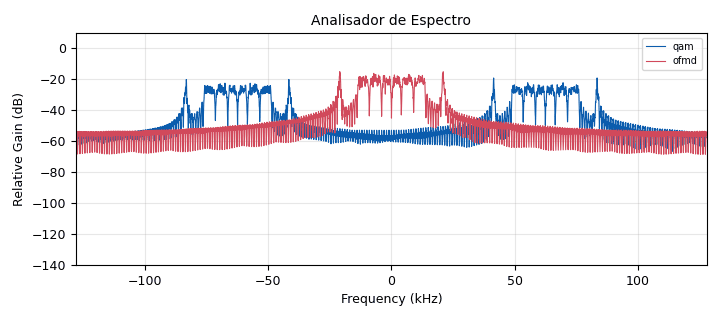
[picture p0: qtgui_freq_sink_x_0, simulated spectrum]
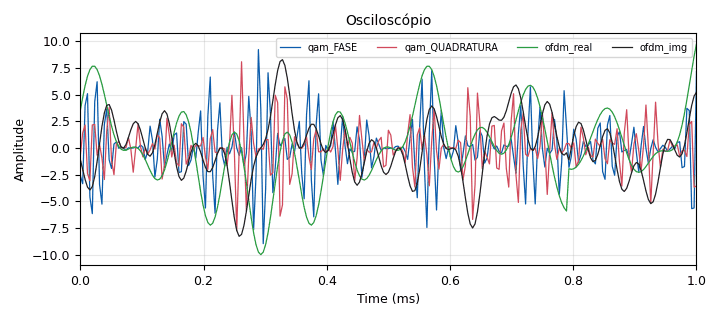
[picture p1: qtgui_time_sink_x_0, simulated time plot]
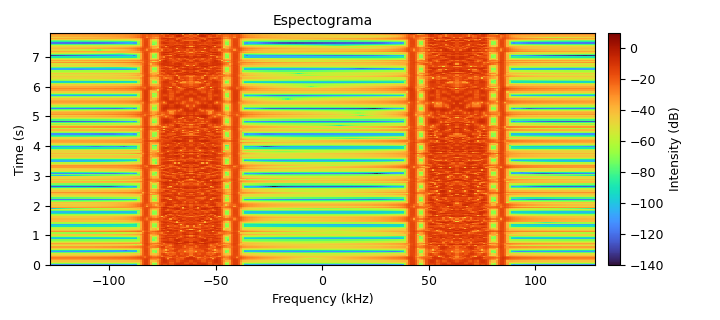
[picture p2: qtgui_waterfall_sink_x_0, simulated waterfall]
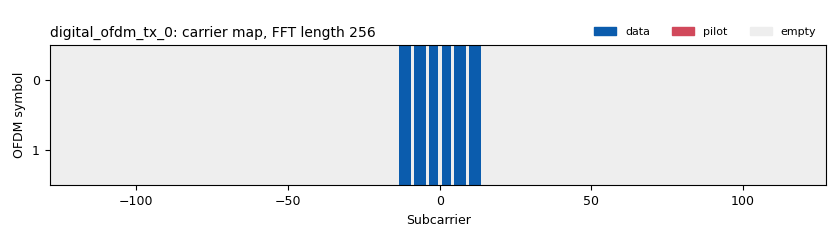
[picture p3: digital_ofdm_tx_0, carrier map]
options:
  parameters:
    author: pedro
    generate_options: qt_gui
    id: m180108140_Exp09_AR01
    output_language: python
    title: AR01
  states: {}

blocks:
- name: CP_len
  id: variable
  parameters:
    value: '1'
  states: {}
- name: fft_len
  id: variable
  parameters:
    value: '256'
  states: {}
- name: len_tag_key
  id: variable
  parameters:
    value: packet_len
  states: {}
- name: packet_len
  id: variable
  parameters:
    value: '22'
  states: {}
- name: samp_rate
  id: variable
  parameters:
    value: '256000'
  states: {}
- name: analog_random_source_x_0
  id: analog_random_source_x
  parameters:
    max: '256'
    min: '0'
    num_samps: '10000'
    repeat: 'True'
    type: byte
  states: {}
- name: analog_sig_source_x_0
  id: analog_sig_source_x
  parameters:
    amp: '1'
    freq: '62500'
    offset: '0'
    phase: '0'
    samp_rate: samp_rate
    type: float
    waveform: analog.GR_COS_WAVE
  states: {}
- name: analog_sig_source_x_0_0
  id: analog_sig_source_x
  parameters:
    amp: '1'
    freq: '62500'
    offset: '0'
    phase: '0'
    samp_rate: samp_rate
    type: float
    waveform: analog.GR_SIN_WAVE
  states: {}
- name: blocks_complex_to_imag_0
  id: blocks_complex_to_imag
  parameters: {}
  states: {}
- name: blocks_complex_to_real_0
  id: blocks_complex_to_real
  parameters: {}
  states: {}
- name: blocks_float_to_complex_0
  id: blocks_float_to_complex
  parameters: {}
  states: {}
- name: blocks_multiply_xx_0
  id: blocks_multiply_xx
  parameters:
    type: float
  states: {}
- name: blocks_multiply_xx_0_0
  id: blocks_multiply_xx
  parameters:
    type: float
  states: {}
- name: blocks_stream_to_tagged_stream_0
  id: blocks_stream_to_tagged_stream
  parameters:
    len_tag_key: packet_len
    packet_len: packet_len
    type: byte
  states: {}
- name: blocks_throttle_0
  id: blocks_throttle
  parameters:
    samples_per_second: samp_rate
    type: byte
  states: {}
- name: digital_ofdm_tx_0
  id: digital_ofdm_tx
  parameters:
    cp_len: '1'
    fft_len: fft_len
    header_mod: '"BPSK"'
    occupied_carriers: |-
      (list(range(-13,-9))+list(range(-8,-4))+list(range(-
      3,0))+list(range(1,4))+list(range(5,9))+list(range(10,
      14)),)
    packet_len_key: packet_len
    payload_mod: '"BPSK"'
    pilot_carriers: ''
    pilot_symbols: ''
    rolloff: '0'
    sync_word1: ''
    sync_word2: ''
  states: {}
- name: import_0
  id: import
  parameters:
    imports: import numpy as np
  states: {}
- name: qtgui_freq_sink_x_0
  id: qtgui_freq_sink_x
  parameters:
    average: '0.05'
    bw: samp_rate
    ctrlpanel: 'True'
    fc: '0'
    fftsize: '4096'
    grid: 'True'
    label1: qam
    label2: ofmd
    name: Analisador de Espectro
    nconnections: '2'
    type: complex
    wintype: firdes.WIN_BLACKMAN_hARRIS
  states: {}
- name: qtgui_time_sink_x_0
  id: qtgui_time_sink_x
  parameters:
    autoscale: 'True'
    ctrlpanel: 'True'
    grid: 'True'
    label1: qam_FASE
    label2: qam_QUADRATURA
    label3: ofdm_real
    label4: ofdm_img
    name: Osciloscópio
    nconnections: '2'
    size: '257'
    srate: samp_rate
    type: complex
  states: {}
- name: qtgui_waterfall_sink_x_0
  id: qtgui_waterfall_sink_x
  parameters:
    bw: samp_rate
    fc: '0'
    fftsize: '256'
    grid: 'True'
    name: Espectograma
    type: complex
    wintype: firdes.WIN_BLACKMAN_hARRIS
  states: {}
- name: virtual_sink_0
  id: virtual_sink
  parameters:
    stream_id: ofdm
  states: {}
- name: virtual_source_0
  id: virtual_source
  parameters:
    stream_id: ofdm
  states: {}
- name: virtual_source_0_0
  id: virtual_source
  parameters:
    stream_id: ofdm
  states: {}
- name: virtual_source_0_1
  id: virtual_source
  parameters:
    stream_id: ofdm
  states: {}

connections:
- [analog_random_source_x_0, '0', blocks_throttle_0, '0']
- [analog_sig_source_x_0, '0', blocks_multiply_xx_0, '1']
- [analog_sig_source_x_0_0, '0', blocks_multiply_xx_0_0, '1']
- [blocks_complex_to_imag_0, '0', blocks_multiply_xx_0_0, '0']
- [blocks_complex_to_real_0, '0', blocks_multiply_xx_0, '0']
- [blocks_float_to_complex_0, '0', qtgui_freq_sink_x_0, '0']
- [blocks_float_to_complex_0, '0', qtgui_time_sink_x_0, '0']
- [blocks_float_to_complex_0, '0', qtgui_waterfall_sink_x_0, '0']
- [blocks_multiply_xx_0, '0', blocks_float_to_complex_0, '0']
- [blocks_multiply_xx_0_0, '0', blocks_float_to_complex_0, '1']
- [blocks_stream_to_tagged_stream_0, '0', digital_ofdm_tx_0, '0']
- [blocks_throttle_0, '0', blocks_stream_to_tagged_stream_0, '0']
- [digital_ofdm_tx_0, '0', virtual_sink_0, '0']
- [virtual_source_0, '0', blocks_complex_to_real_0, '0']
- [virtual_source_0_0, '0', blocks_complex_to_imag_0, '0']
- [virtual_source_0_1, '0', qtgui_freq_sink_x_0, '1']
- [virtual_source_0_1, '0', qtgui_time_sink_x_0, '1']

metadata:
  file_format: 1
